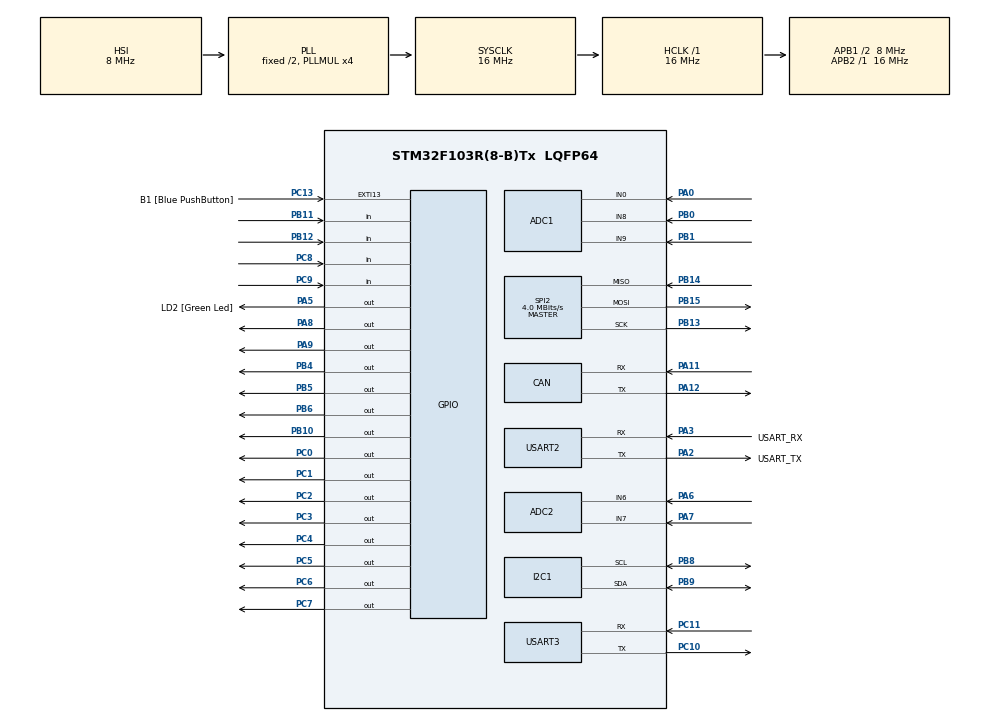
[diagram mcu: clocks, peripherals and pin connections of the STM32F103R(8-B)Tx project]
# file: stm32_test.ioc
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ADC1.Channel-0\#ChannelRegularConversion=ADC_CHANNEL_0
ADC1.NbrOfConversionFlag=1
ADC1.Rank-0\#ChannelRegularConversion=1
ADC1.SamplingTime-0\#ChannelRegularConversion=ADC_SAMPLETIME_1CYCLE_5
ADC1.master=1
ADC2.Channel-1\#ChannelRegularConversion=ADC_CHANNEL_7
ADC2.NbrOfConversionFlag=1
ADC2.Rank-1\#ChannelRegularConversion=1
ADC2.SamplingTime-1\#ChannelRegularConversion=ADC_SAMPLETIME_1CYCLE_5
CAN.CalculateTimeBit=6000
CAN.CalculateTimeQuantum=2000.0
Mcu.Family=STM32F1
Mcu.Name=STM32F103R(8-B)Tx
Mcu.Package=LQFP64
NVIC.EXTI15_10_IRQn=true\:0\:0\:false\:false\:true\:true\:true
NVIC.PriorityGroup=NVIC_PRIORITYGROUP_4
PA0-WKUP.Signal=ADCx_IN0
PA11.Mode=Master
PA11.Signal=CAN_RX
PA12.Mode=Master
PA12.Signal=CAN_TX
PA13.GPIO_Label=TMS
PA13.Mode=Trace_Asynchronous_SW
PA13.Signal=SYS_JTMS-SWDIO
PA14.GPIO_Label=TCK
PA14.Mode=Trace_Asynchronous_SW
PA14.Signal=SYS_JTCK-SWCLK
PA2.GPIO_Label=USART_TX
PA2.GPIO_Mode=GPIO_MODE_AF_PP
PA2.GPIO_PuPd=GPIO_NOPULL
PA2.GPIO_Speed=GPIO_SPEED_FREQ_LOW
PA2.Mode=Asynchronous
PA2.Signal=USART2_TX
PA3.GPIO_Label=USART_RX
PA3.GPIO_Mode=GPIO_MODE_AF_PP
PA3.GPIO_PuPd=GPIO_NOPULL
PA3.GPIO_Speed=GPIO_SPEED_FREQ_LOW
PA3.Mode=Asynchronous
PA3.Signal=USART2_RX
PA5.GPIO_Label=LD2 [Green Led]
PA5.GPIO_ModeDefaultOutputPP=GPIO_MODE_OUTPUT_PP
PA5.GPIO_PuPd=GPIO_NOPULL
PA5.GPIO_Speed=GPIO_SPEED_FREQ_LOW
PA5.Signal=GPIO_Output
PA6.Signal=ADCx_IN6
PA7.Signal=ADCx_IN7
PA8.Signal=GPIO_Output
PA9.Signal=GPIO_Output
PB0.Signal=ADCx_IN8
PB1.Signal=ADCx_IN9
PB10.Signal=GPIO_Output
PB11.Signal=GPIO_Input
PB12.Signal=GPIO_Input
PB13.Mode=Full_Duplex_Master
PB13.Signal=SPI2_SCK
PB14.Mode=Full_Duplex_Master
PB14.Signal=SPI2_MISO
PB15.Mode=Full_Duplex_Master
PB15.Signal=SPI2_MOSI
PB3.GPIO_Label=SWO
PB3.Mode=Trace_Asynchronous_SW
PB3.Signal=SYS_JTDO-TRACESWO
PB4.Signal=GPIO_Output
PB5.Signal=GPIO_Output
PB6.Signal=GPIO_Output
PB8.Mode=I2C
PB8.Signal=I2C1_SCL
PB9.Mode=I2C
PB9.Signal=I2C1_SDA
PC0.Signal=GPIO_Output
PC1.Signal=GPIO_Output
PC10.Mode=Asynchronous
PC10.Signal=USART3_TX
PC11.Mode=Asynchronous
PC11.Signal=USART3_RX
PC13-TAMPER-RTC.GPIO_Label=B1 [Blue PushButton]
PC13-TAMPER-RTC.GPIO_PuPd=GPIO_NOPULL
PC13-TAMPER-RTC.Signal=GPXTI13
PC14-OSC32_IN.Mode=LSE-External-Oscillator
PC14-OSC32_IN.Signal=RCC_OSC32_IN
PC15-OSC32_OUT.Mode=LSE-External-Oscillator
PC15-OSC32_OUT.Signal=RCC_OSC32_OUT
PC2.Signal=GPIO_Output
PC3.Signal=GPIO_Output
PC4.Signal=GPIO_Output
PC5.Signal=GPIO_Output
PC6.Signal=GPIO_Output
PC7.Signal=GPIO_Output
PC8.Signal=GPIO_Input
PC9.Signal=GPIO_Input
PD0-OSC_IN.Mode=HSE-External-Clock-Source
PD0-OSC_IN.Signal=RCC_OSC_IN
PD1-OSC_OUT.Mode=HSE-External-Clock-Source
PD1-OSC_OUT.Signal=RCC_OSC_OUT
ProjectManager.HeapSize=0x200
ProjectManager.StackSize=0x400
ProjectManager.TargetToolchain=TrueSTUDIO
RCC.AHBFreq_Value=16000000
RCC.APB1CLKDivider=RCC_HCLK_DIV2
RCC.APB1Freq_Value=8000000
RCC.APB1TimFreq_Value=16000000
RCC.APB2Freq_Value=16000000
RCC.APB2TimFreq_Value=16000000
RCC.HCLKFreq_Value=16000000
RCC.PLLMUL=RCC_PLL_MUL4
RCC.RTCClockSelection=RCC_RTCCLKSOURCE_LSE
RCC.SYSCLKFreq_VALUE=16000000
RCC.SYSCLKSource=RCC_SYSCLKSOURCE_PLLCLK
RCC.USBFreq_Value=16000000
SH.ADCx_IN0.0=ADC1_IN0,IN0
SH.ADCx_IN6.0=ADC2_IN6,IN6
SH.ADCx_IN7.0=ADC2_IN7,IN7
SH.ADCx_IN8.0=ADC1_IN8,IN8
SH.ADCx_IN9.0=ADC1_IN9,IN9
SPI2.CalculateBaudRate=4.0 MBits/s
SPI2.Direction=SPI_DIRECTION_2LINES
SPI2.Mode=SPI_MODE_MASTER
SPI2.VirtualType=VM_MASTER
USART2.VirtualMode=VM_ASYNC
USART3.VirtualMode=VM_ASYNC
VP_RTC_No_RTC_Output.Mode=RTC_OUT_NO
VP_RTC_VS_RTC_Activate.Mode=RTC_Enabled
VP_RTC_VS_RTC_Calendar.Mode=RTC_Calendar
board=NUCLEO-F103RB

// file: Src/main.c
/* USER CODE BEGIN Header */
/**
  ******************************************************************************
  * @file           : main.c
  * @brief          : Main program body
  ******************************************************************************
  * @attention
  *
  * <h2><center>&copy; Copyright (c) 2019 STMicroelectronics.
  * All rights reserved.</center></h2>
  *
  * This software component is licensed by ST under BSD 3-Clause license,
  * the "License"; You may not use this file except in compliance with the
  * License. You may obtain a copy of the License at:
  *                        opensource.org/licenses/BSD-3-Clause
  *
  ******************************************************************************
  */
/* USER CODE END Header */

#include "main.h"
#include "adc.h"
#include "can.h"
#include "i2c.h"
#include "rtc.h"
#include "spi.h"
#include "usart.h"
#include "gpio.h"

/* USER CODE BEGIN Includes */
#include <LCD_Keypad_Shield.h>
/* USER CODE END Includes */

void SystemClock_Config(void);

int main(void)
{
  /* USER CODE BEGIN 1 */
  char test_string0[16];
  char test_string1[16];
  uint8_t i = 0;
  /* USER CODE END 1 */

  /* MCU Configuration--------------------------------------------------------*/

  /* Reset of all peripherals, Initializes the Flash interface and the Systick. */
  HAL_Init();

  /* Configure the system clock */
  SystemClock_Config();

  /* Initialize all configured peripherals */
  MX_GPIO_Init();
  MX_USART2_UART_Init();
  MX_RTC_Init();
  MX_ADC1_Init();
  MX_ADC2_Init();
  MX_CAN_Init();
  MX_I2C1_Init();
  MX_SPI2_Init();
  MX_USART3_UART_Init();
  /* USER CODE BEGIN 2 */

  //1602 LCD Peri Begin
  lcd_Init(16, 2);
  //lcd_string("Hello World!");
  //lcd_string("STM32Study^^");
  //lcd_setCurStr(0, 1, "STM32 CLCD TEST");

  //1602 LCD Peri End

  /* USER CODE END 2 */

  /* Infinite loop */
  /* USER CODE BEGIN WHILE */
  HAL_UART_Init(&huart2);
  //char * mystr1 = "hello world!!";
  char mystr1[] = "STM32 world!!\n\r";
  HAL_GPIO_WritePin(BL_GPIO_Port,BL_Pin,1);

  while (1)
  {
    /* USER CODE END WHILE */

    /* USER CODE BEGIN 3 */
	HAL_UART_Transmit(&huart2, (uint8_t *)mystr1,sizeof(mystr1)/sizeof(mystr1[0]),100);

#if 0
  for(int cnt = 0; cnt < 10; cnt++) {
    lcd_scrollDisplayLeft();
    HAL_Delay(150);
  }

  for (int cnt =0; cnt < 10; cnt++) {
    lcd_scrollDisplayRight();
    HAL_Delay(150);
  }
  HAL_Delay(1500);
#endif

#if 0
  for (int cnt =0; cnt < 10; cnt++) {
      lcd_scrollDisplayRight();
      HAL_Delay(150);
  }
  for(int cnt = 0; cnt < 10; cnt++) {
    lcd_scrollDisplayLeft();
    HAL_Delay(150);
  }
  HAL_Delay(1500);
#endif

#if 1
  sprintf(test_string0,"2020/04/26[SAT]");
  lcd_setCurStr(0, 0, test_string0);

  sprintf(test_string1,"14:25:%02d",i);
  if(++i>=60) i=0;

  lcd_setCurStr(0, 1, test_string1);
  HAL_Delay(1000);
#endif

  }
  /* USER CODE END 3 */
}

void SystemClock_Config(void)
{
  RCC_OscInitTypeDef RCC_OscInitStruct = {0};
  RCC_ClkInitTypeDef RCC_ClkInitStruct = {0};
  RCC_PeriphCLKInitTypeDef PeriphClkInit = {0};

  /** Initializes the CPU, AHB and APB busses clocks
  */
  RCC_OscInitStruct.OscillatorType = RCC_OSCILLATORTYPE_HSI|RCC_OSCILLATORTYPE_LSE;
  RCC_OscInitStruct.LSEState = RCC_LSE_ON;
  RCC_OscInitStruct.HSIState = RCC_HSI_ON;
  RCC_OscInitStruct.HSICalibrationValue = RCC_HSICALIBRATION_DEFAULT;
  RCC_OscInitStruct.PLL.PLLState = RCC_PLL_ON;
  RCC_OscInitStruct.PLL.PLLSource = RCC_PLLSOURCE_HSI_DIV2;
  RCC_OscInitStruct.PLL.PLLMUL = RCC_PLL_MUL4;
  if (HAL_RCC_OscConfig(&RCC_OscInitStruct) != HAL_OK)
  {
    Error_Handler();
  }
  /** Initializes the CPU, AHB and APB busses clocks
  */
  RCC_ClkInitStruct.ClockType = RCC_CLOCKTYPE_HCLK|RCC_CLOCKTYPE_SYSCLK
                              |RCC_CLOCKTYPE_PCLK1|RCC_CLOCKTYPE_PCLK2;
  RCC_ClkInitStruct.SYSCLKSource = RCC_SYSCLKSOURCE_PLLCLK;
  RCC_ClkInitStruct.AHBCLKDivider = RCC_SYSCLK_DIV1;
  RCC_ClkInitStruct.APB1CLKDivider = RCC_HCLK_DIV2;
  RCC_ClkInitStruct.APB2CLKDivider = RCC_HCLK_DIV1;

  if (HAL_RCC_ClockConfig(&RCC_ClkInitStruct, FLASH_LATENCY_0) != HAL_OK)
  {
    Error_Handler();
  }
  PeriphClkInit.PeriphClockSelection = RCC_PERIPHCLK_RTC|RCC_PERIPHCLK_ADC;
  PeriphClkInit.RTCClockSelection = RCC_RTCCLKSOURCE_LSE;
  PeriphClkInit.AdcClockSelection = RCC_ADCPCLK2_DIV2;
  if (HAL_RCCEx_PeriphCLKConfig(&PeriphClkInit) != HAL_OK)
  {
    Error_Handler();
  }
}

void Error_Handler(void)
{
}

/************************ (C) COPYRIGHT STMicroelectronics *****END OF FILE****/
